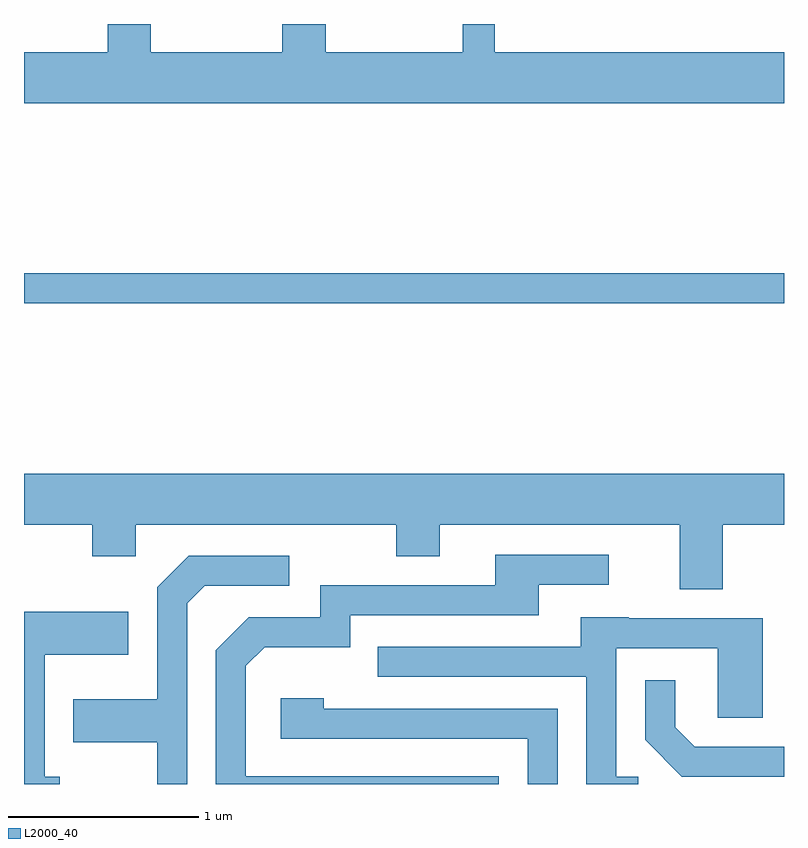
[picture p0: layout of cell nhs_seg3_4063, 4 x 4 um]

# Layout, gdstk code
import gdstk
lib = gdstk.Library(unit=1e-6, precision=1e-09)
def R(c, l, rs):  # rectangles x0, y0, x1, y1
    for r in rs: c.add(gdstk.rectangle(r[:2], r[2:], *l))
def P(c, l, *ps):  # polygons
    for p in ps: c.add(gdstk.Polygon(p, *l))
L2000_40 = (2000, 40)

nhs_seg3_4063 = lib.new_cell('nhs_seg3_4063')
R(nhs_seg3_4063, L2000_40, [(303.611,1220.421,307.611,1220.579)])
P(nhs_seg3_4063, L2000_40, [(307.611,1221.744),(306.089,1221.744),(306.089,1221.892),(305.921,1221.892),(305.921,1221.744),(305.199,1221.744),(305.199,1221.892),(304.971,1221.892),(304.971,1221.744),(304.279,1221.744),(304.279,1221.892),(304.051,1221.892),(304.051,1221.744),(303.611,1221.744),(303.611,1221.476),(307.611,1221.476)],
  [(307.289,1219.256),(307.611,1219.256),(307.611,1219.524),(303.611,1219.524),(303.611,1219.256),(303.971,1219.256),(303.971,1219.091),(304.199,1219.091),(304.199,1219.256),(305.571,1219.256),(305.571,1219.091),(305.799,1219.091),(305.799,1219.256),(307.061,1219.256),(307.061,1218.916),(307.289,1218.916)],
  [(306.109,1217.934),(304.779,1217.934),(304.779,1218.514),(304.877,1218.611),(305.329,1218.611),(305.329,1218.781),(306.319,1218.781),(306.319,1218.941),(306.688,1218.941),(306.688,1219.099),(306.091,1219.099),(306.091,1218.939),(305.171,1218.939),(305.171,1218.769),(304.794,1218.769),(304.621,1218.597),(304.621,1217.892),(306.109,1217.892)],
  [(304.469,1218.844),(304.562,1218.936),(305.008,1218.936),(305.008,1219.094),(304.479,1219.094),(304.311,1218.927),(304.311,1218.339),(303.871,1218.339),(303.871,1218.111),(304.311,1218.111),(304.311,1217.892),(304.469,1217.892)],
  [(303.798,1217.929),(303.719,1217.929),(303.719,1218.571),(304.159,1218.571),(304.159,1218.799),(303.611,1218.799),(303.611,1217.892),(303.798,1217.892)],
  [(306.843,1217.929),(306.729,1217.929),(306.729,1218.606),(307.261,1218.606),(307.261,1218.241),(307.499,1218.241),(307.499,1218.764),(306.795,1218.764),(306.795,1218.769),(306.541,1218.769),(306.541,1218.614),(305.473,1218.614),(305.473,1218.456),(306.571,1218.456),(306.571,1217.892),(306.843,1217.892)],
  [(307.611,1218.089),(307.142,1218.089),(307.039,1218.192),(307.039,1218.438),(306.881,1218.438),(306.881,1218.124),(307.074,1217.931),(307.611,1217.931)],
  [(306.419,1218.289),(305.189,1218.289),(305.189,1218.344),(304.961,1218.344),(304.961,1218.131),(306.261,1218.131),(306.261,1217.892),(306.419,1217.892)])

lib.write_gds('nhs_seg3_4063.gds')
